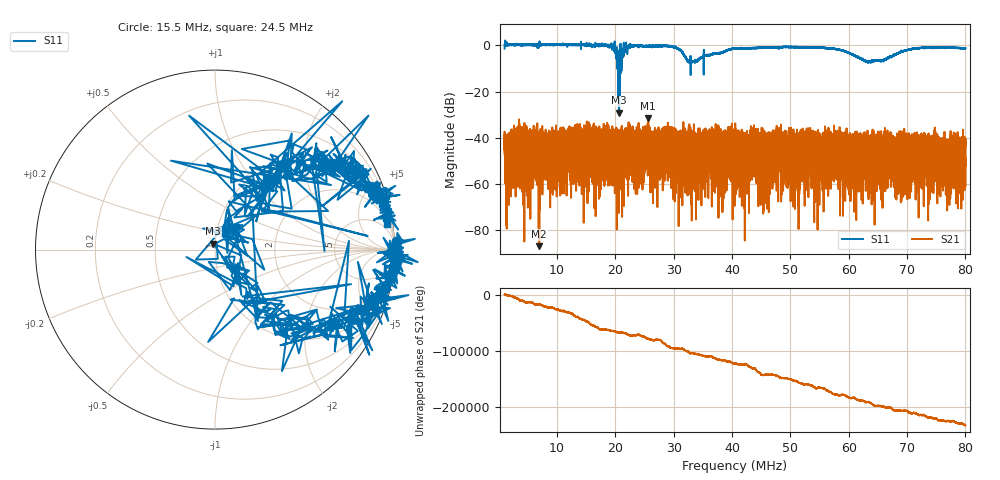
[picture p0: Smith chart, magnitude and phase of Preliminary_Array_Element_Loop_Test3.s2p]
# HZ S RI R 50
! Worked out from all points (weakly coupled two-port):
!   18180 points, 1 MHz to 80.01 MHz, reference 50 ohm
!   highest |S21| = -31.55 dB at 25.64 MHz (marker M1); lowest = -86.8 dB at 6.95 MHz (marker M2)
!   lowest |S11| = -29.1 dB at 20.6 MHz (marker M3), VSWR 1.07, Z = 48.9 + j3.28 ohm
!   |S11| at or under -10 dB: 20.43 MHz to 20.43592 MHz (5.922 kHz wide, 0.029 % of centre); 20.4624 MHz to 20.48728 MHz (24.88 kHz wide, 0.122 % of centre); 20.49 MHz to 20.79 MHz (296.4 kHz wide, 1.44 % of centre)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
!   S12 and S22 are empty: the file has one direction only
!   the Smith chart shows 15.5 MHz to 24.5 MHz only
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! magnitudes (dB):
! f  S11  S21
! 1 MHz  -1.4  -42.5
! 6.95 MHz  0.2  -86.8
! 14.17 MHz  0.2  -42.1
! 19.49 MHz  -0.7  -54.6
! 20.6 MHz  -29.1  -44.8
! 21.81 MHz  -1.4  -39.8
! 25.64 MHz  -0.5  -31.5
! 27.34 MHz  -0.2  -47.2
! 29.06 MHz  -0.3  -49.2
! 30.63 MHz  -1.2  -50.3
! 32.89 MHz  -4.7  -45.0
! 40.51 MHz  -1.4  -39.7
! 46.19 MHz  -1.0  -46.4
! 47.9 MHz  -0.8  -46.9
! 50.92 MHz  -0.8  -38.6
! 53.67 MHz  -1.1  -55.3
! 54.32 MHz  -0.9  -44.5
! 57.42 MHz  -1.6  -41.0
! 63.27 MHz  -7.1  -46.7
! 66.84 MHz  -5.4  -42.2
! 77.01 MHz  -0.9  -53.4
! 80.01 MHz  -1.3  -43.6
